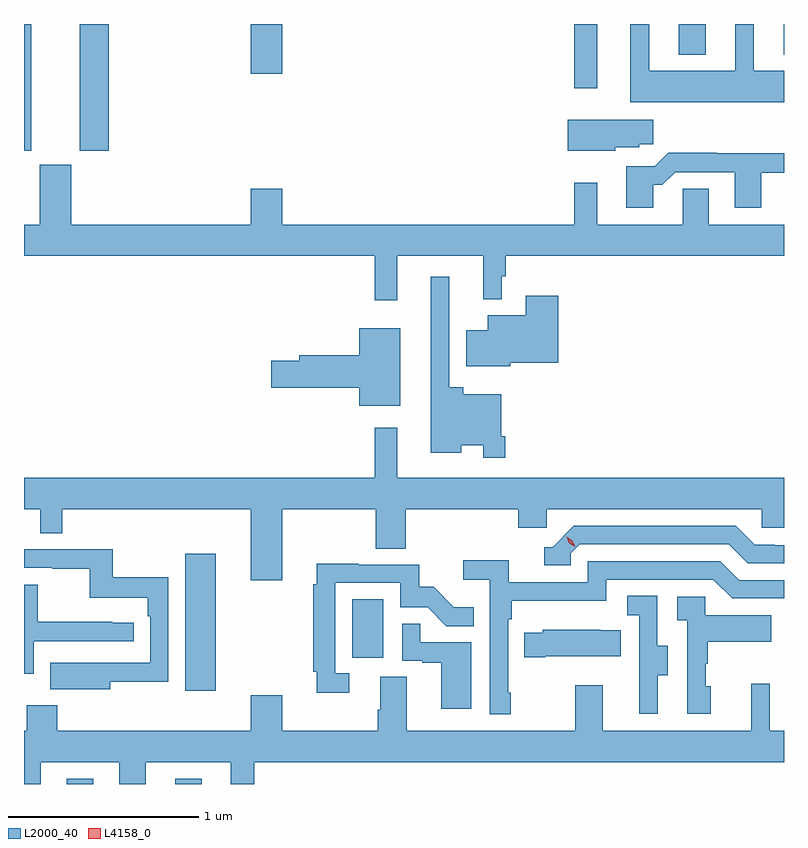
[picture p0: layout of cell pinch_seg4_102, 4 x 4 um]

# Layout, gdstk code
import gdstk
lib = gdstk.Library(unit=1e-6, precision=1e-09)
def R(c, l, rs):  # rectangles x0, y0, x1, y1
    for r in rs: c.add(gdstk.rectangle(r[:2], r[2:], *l))
def P(c, l, *ps):  # polygons
    for p in ps: c.add(gdstk.Polygon(p, *l))
L2000_40 = (2000, 40)
L4158_0 = (4158, 0)

pinch_seg4_102 = lib.new_cell('pinch_seg4_102')
R(pinch_seg4_102, L2000_40, [(1063.139,800.701,1063.279,800.728), (1063.709,800.701,1063.849,800.728), (1063.763,801.192,1063.924,801.913), (1064.642,801.366,1064.806,801.673), (1062.914,804.033,1062.952,804.701), (1063.208,804.033,1063.361,804.701), (1065.81,804.363,1065.931,804.701), (1064.108,804.438,1064.272,804.701), (1066.361,804.539,1066.501,804.701), (1066.913,804.539,1066.914,804.701)])
P(pinch_seg4_102, L2000_40, [(1066.914,804.454),(1066.756,804.454),(1066.756,804.701),(1066.658,804.701),(1066.658,804.454),(1066.204,804.454),(1066.204,804.701),(1066.106,804.701),(1066.106,804.29),(1066.914,804.29)],
  [(1066.026,804.053),(1066.152,804.053),(1066.152,804.067),(1066.225,804.067),(1066.225,804.196),(1065.776,804.196),(1065.776,804.035),(1066.026,804.035)],
  [(1066.225,803.855),(1066.274,803.855),(1066.341,803.922),(1066.655,803.922),(1066.655,803.733),(1066.795,803.733),(1066.795,803.919),(1066.914,803.919),(1066.914,804.02),(1066.559,804.02),(1066.559,804.023),(1066.304,804.023),(1066.233,803.952),(1066.085,803.952),(1066.085,803.733),(1066.225,803.733)],
  [(1064.879,803.48),(1065.332,803.48),(1065.332,803.252),(1065.429,803.252),(1065.429,803.373),(1065.449,803.373),(1065.449,803.48),(1066.914,803.48),(1066.914,803.644),(1066.519,803.644),(1066.519,803.834),(1066.38,803.834),(1066.38,803.644),(1065.931,803.644),(1065.931,803.866),(1065.81,803.866),(1065.81,803.644),(1064.272,803.644),(1064.272,803.833),(1064.108,803.833),(1064.108,803.644),(1063.162,803.644),(1063.162,803.961),(1062.998,803.961),(1062.998,803.644),(1062.914,803.644),(1062.914,803.48),(1064.761,803.48),(1064.761,803.247),(1064.879,803.247)],
  [(1065.446,802.531),(1065.426,802.531),(1065.426,802.753),(1065.227,802.753),(1065.227,802.789),(1065.153,802.789),(1065.153,803.371),(1065.056,803.371),(1065.056,802.445),(1065.214,802.445),(1065.214,802.484),(1065.33,802.484),(1065.33,802.419),(1065.446,802.419)],
  [(1065.474,802.919),(1065.725,802.919),(1065.725,803.272),(1065.554,803.272),(1065.554,803.167),(1065.356,803.167),(1065.356,803.089),(1065.242,803.089),(1065.242,802.901),(1065.474,802.901)],
  [(1064.893,803.101),(1064.678,803.101),(1064.678,802.958),(1064.363,802.958),(1064.363,802.928),(1064.214,802.928),(1064.214,802.786),(1064.678,802.786),(1064.678,802.691),(1064.893,802.691)],
  [(1064.272,802.148),(1064.764,802.148),(1064.764,801.94),(1064.924,801.94),(1064.924,802.148),(1065.515,802.148),(1065.515,802.05),(1065.666,802.05),(1065.666,802.148),(1066.797,802.148),(1066.797,802.05),(1066.914,802.05),(1066.914,802.312),(1064.878,802.312),(1064.878,802.576),(1064.761,802.576),(1064.761,802.312),(1062.914,802.312),(1062.914,802.148),(1062.999,802.148),(1062.999,802.021),(1063.115,802.021),(1063.115,802.148),(1064.108,802.148),(1064.108,801.774),(1064.272,801.774)],
  [(1065.792,801.915),(1065.84,801.963),(1066.623,801.963),(1066.722,801.864),(1066.914,801.864),(1066.914,801.957),(1066.866,801.957),(1066.866,801.96),(1066.759,801.96),(1066.66,802.059),(1065.807,802.059),(1065.696,801.948),(1065.653,801.948),(1065.653,801.852),(1065.792,801.852)],
  [(1063.369,801.238),(1063.674,801.238),(1063.674,801.79),(1063.381,801.79),(1063.381,801.936),(1062.914,801.936),(1062.914,801.84),(1063.063,801.84),(1063.063,801.835),(1063.26,801.835),(1063.26,801.68),(1063.565,801.68),(1063.565,801.584),(1063.578,801.584),(1063.578,801.339),(1063.265,801.339),(1063.265,801.34),(1063.051,801.34),(1063.051,801.2),(1063.369,801.2)],
  [(1065.475,801.181),(1065.462,801.181),(1065.462,801.569),(1065.482,801.569),(1065.482,801.665),(1065.978,801.665),(1065.978,801.777),(1066.542,801.777),(1066.641,801.678),(1066.914,801.678),(1066.914,801.774),(1066.678,801.774),(1066.579,801.873),(1065.882,801.873),(1065.882,801.762),(1065.464,801.762),(1065.464,801.878),(1065.225,801.878),(1065.225,801.776),(1065.366,801.776),(1065.366,801.069),(1065.475,801.069)],
  [(1064.626,801.285),(1064.553,801.285),(1064.553,801.759),(1064.895,801.759),(1064.895,801.63),(1065.039,801.63),(1065.137,801.532),(1065.281,801.532),(1065.281,801.631),(1065.177,801.631),(1065.07,801.738),(1064.994,801.738),(1064.994,801.855),(1064.675,801.855),(1064.675,801.86),(1064.456,801.86),(1064.456,801.752),(1064.437,801.752),(1064.437,801.292),(1064.456,801.292),(1064.456,801.18),(1064.626,801.18)],
  [(1062.966,801.453),(1063.492,801.453),(1063.492,801.549),(1063.379,801.549),(1063.379,801.554),(1062.986,801.554),(1062.986,801.75),(1062.914,801.75),(1062.914,801.281),(1062.966,801.281)],
  [(1066.249,801.274),(1066.303,801.274),(1066.303,801.429),(1066.248,801.429),(1066.248,801.692),(1066.089,801.692),(1066.089,801.589),(1066.152,801.589),(1066.152,801.285),(1066.151,801.285),(1066.151,801.072),(1066.249,801.072)],
  [(1066.528,801.216),(1066.503,801.216),(1066.503,801.335),(1066.513,801.335),(1066.513,801.449),(1066.847,801.449),(1066.847,801.589),(1066.5,801.589),(1066.5,801.687),(1066.353,801.687),(1066.353,801.563),(1066.404,801.563),(1066.404,801.072),(1066.528,801.072)],
  [(1065.268,801.447),(1064.999,801.447),(1064.999,801.545),(1064.904,801.545),(1064.904,801.351),(1065.011,801.351),(1065.011,801.339),(1065.11,801.339),(1065.11,801.096),(1065.268,801.096)],
  [(1065.658,801.374),(1066.055,801.374),(1066.055,801.511),(1065.947,801.511),(1065.947,801.514),(1065.645,801.514),(1065.645,801.496),(1065.547,801.496),(1065.547,801.367),(1065.658,801.367)],
  [(1063.003,800.816),(1063.415,800.816),(1063.415,800.701),(1063.554,800.701),(1063.554,800.816),(1064.003,800.816),(1064.003,800.701),(1064.125,800.701),(1064.125,800.816),(1066.914,800.816),(1066.914,800.98),(1066.839,800.98),(1066.839,801.229),(1066.742,801.229),(1066.742,800.98),(1065.961,800.98),(1065.961,801.22),(1065.814,801.22),(1065.814,800.98),(1064.929,800.98),(1064.929,801.266),(1064.789,801.266),(1064.789,801.092),(1064.777,801.092),(1064.777,800.98),(1064.272,800.98),(1064.272,801.169),(1064.108,801.169),(1064.108,800.98),(1063.088,800.98),(1063.088,801.115),(1062.928,801.115),(1062.928,800.98),(1062.914,800.98),(1062.914,800.701),(1063.003,800.701)])
P(pinch_seg4_102, L4158_0, [(1065.815,801.949),(1065.785,801.969),(1065.77,802.002),(1065.77,802.002),(1065.77,802.002),(1065.8,801.982),(1065.816,801.949),(1065.816,801.949)])

lib.write_gds('pinch_seg4_102.gds')
